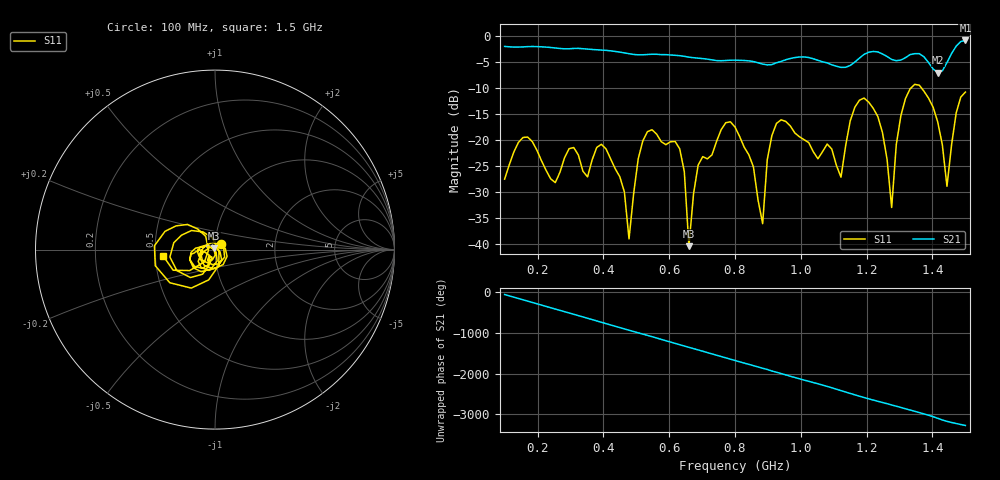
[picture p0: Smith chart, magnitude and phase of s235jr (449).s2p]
! NanoVNA-App
! Date: 2025-09-25 15:07:39
! Start: 100MHz Stop: 1,5GHz Points: 101
! S-Parameter data: F S11 S21 S12 S22
# Hz S RI R 50
!  Frequency  S11_Real  S11_Imag  S21_Real  S21_Imag  S12_Real  S12_Imag  S22_Real  S22_Imag
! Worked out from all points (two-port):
!   101 points, 100 MHz to 1.5 GHz, reference 50 ohm
!   highest |S21| = -0.81 dB at 1.5 GHz (marker M1); lowest = -7.0 dB at 1.416 GHz (marker M2)
!   |S21| within 3 dB of the highest: start of sweep to 640.2 MHz; 1.186 GHz to 1.26 GHz (73.81 MHz wide, 6.04 % of centre) (the widest 2 of 4)
!   lowest |S11| = -40.4 dB at 660 MHz (marker M3), VSWR 1.02, Z = 49.3 + j0.618 ohm
!   |S11| at or under -10 dB: start of sweep to 1.334 GHz; 1.367 GHz to end of sweep
!   S12 and S22 are empty: the file has one direction only
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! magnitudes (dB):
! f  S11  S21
! 100 MHz  -27.5  -2.0
! 156 MHz  -19.5  -2.1
! 338 MHz  -26.0  -2.4
! 408 MHz  -21.7  -2.7
! 478 MHz  -39.0  -3.4
! 520 MHz  -20.1  -3.6
! 576 MHz  -20.3  -3.5
! 632 MHz  -21.6  -3.7
! 660 MHz  -40.4  -4.0
! 688 MHz  -24.8  -4.2
! 800 MHz  -17.5  -4.6
! 884 MHz  -36.0  -5.4
! 926 MHz  -16.8  -5.1
! 1.038 GHz  -22.2  -4.3
! 1.122 GHz  -27.1  -6.0
! 1.192 GHz  -11.9  -3.5
! 1.248 GHz  -18.5  -3.4
! 1.276 GHz  -32.9  -4.5
! 1.332 GHz  -10.1  -3.5
! 1.416 GHz  -16.5  -7.0
! 1.444 GHz  -28.9  -5.1
! 1.5 GHz  -10.7  -0.8
